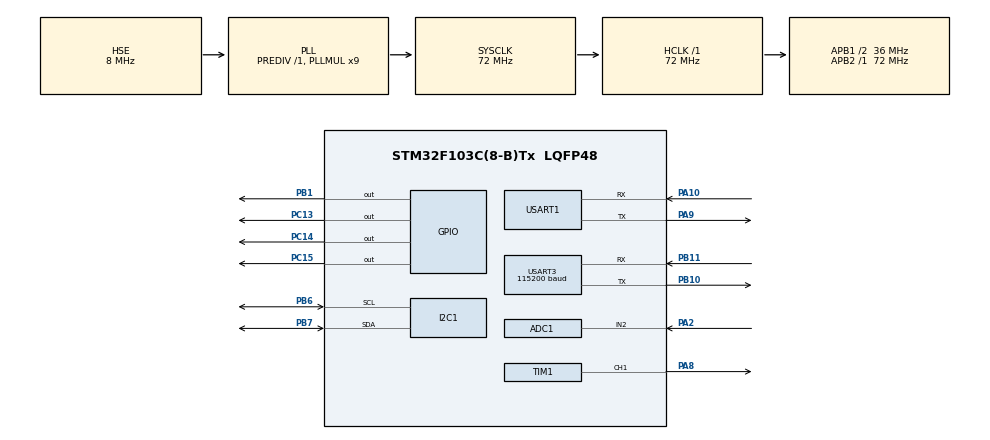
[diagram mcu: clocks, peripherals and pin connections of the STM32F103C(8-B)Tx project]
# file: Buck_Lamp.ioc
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ADC1.Channel-1\#ChannelRegularConversion=ADC_CHANNEL_2
ADC1.ContinuousConvMode=ENABLE
ADC1.NbrOfConversionFlag=1
ADC1.Rank-1\#ChannelRegularConversion=1
ADC1.SamplingTime-1\#ChannelRegularConversion=ADC_SAMPLETIME_1CYCLE_5
ADC1.master=1
Dma.ADC1.0.Direction=DMA_PERIPH_TO_MEMORY
Dma.ADC1.0.Instance=DMA1_Channel1
Dma.ADC1.0.MemDataAlignment=DMA_MDATAALIGN_HALFWORD
Dma.ADC1.0.MemInc=DMA_MINC_ENABLE
Dma.ADC1.0.Mode=DMA_CIRCULAR
Dma.ADC1.0.PeriphDataAlignment=DMA_PDATAALIGN_HALFWORD
Dma.ADC1.0.PeriphInc=DMA_PINC_DISABLE
Dma.ADC1.0.Priority=DMA_PRIORITY_LOW
Dma.Request0=ADC1
Dma.Request1=USART3_RX
Dma.Request2=USART1_RX
Dma.USART1_RX.2.Direction=DMA_PERIPH_TO_MEMORY
Dma.USART1_RX.2.Instance=DMA1_Channel5
Dma.USART1_RX.2.MemDataAlignment=DMA_MDATAALIGN_BYTE
Dma.USART1_RX.2.MemInc=DMA_MINC_ENABLE
Dma.USART1_RX.2.Mode=DMA_CIRCULAR
Dma.USART1_RX.2.PeriphDataAlignment=DMA_PDATAALIGN_BYTE
Dma.USART1_RX.2.PeriphInc=DMA_PINC_DISABLE
Dma.USART1_RX.2.Priority=DMA_PRIORITY_LOW
Dma.USART3_RX.1.Direction=DMA_PERIPH_TO_MEMORY
Dma.USART3_RX.1.Instance=DMA1_Channel3
Dma.USART3_RX.1.MemDataAlignment=DMA_MDATAALIGN_BYTE
Dma.USART3_RX.1.MemInc=DMA_MINC_ENABLE
Dma.USART3_RX.1.Mode=DMA_CIRCULAR
Dma.USART3_RX.1.PeriphDataAlignment=DMA_PDATAALIGN_BYTE
Dma.USART3_RX.1.PeriphInc=DMA_PINC_DISABLE
Dma.USART3_RX.1.Priority=DMA_PRIORITY_LOW
FREERTOS.Tasks01=lighttask,0,128,lighttask_f,Default,NULL,Dynamic,NULL,NULL;oledtask,-3,128,oledtask_f,Default,NULL,Dynamic,NULL,NULL
Mcu.Family=STM32F1
Mcu.Name=STM32F103C(8-B)Tx
Mcu.Package=LQFP48
NVIC.ADC1_2_IRQn=true\:5\:0\:false\:false\:true\:true\:true\:true\:true
NVIC.DMA1_Channel1_IRQn=true\:5\:0\:false\:false\:true\:true\:false\:true\:true
NVIC.DMA1_Channel3_IRQn=true\:5\:0\:false\:false\:true\:true\:false\:true\:true
NVIC.DMA1_Channel5_IRQn=true\:5\:0\:false\:false\:true\:true\:false\:true\:true
NVIC.PriorityGroup=NVIC_PRIORITYGROUP_4
NVIC.TIM4_IRQn=true\:15\:0\:false\:false\:true\:false\:false\:true\:true
NVIC.TimeBase=TIM4_IRQn
NVIC.TimeBaseIP=TIM4
NVIC.USART1_IRQn=true\:5\:0\:false\:false\:true\:true\:true\:true\:true
NVIC.USART3_IRQn=true\:5\:0\:false\:false\:true\:true\:true\:true\:true
PA10.Mode=Asynchronous
PA10.Signal=USART1_RX
PA13.Mode=Serial_Wire
PA13.Signal=SYS_JTMS-SWDIO
PA14.Mode=Serial_Wire
PA14.Signal=SYS_JTCK-SWCLK
PA2.Signal=SharedAnalog_PA2
PA8.Signal=S_TIM1_CH1
PA9.Mode=Asynchronous
PA9.Signal=USART1_TX
PB1.GPIO_ModeDefaultOutputPP=GPIO_MODE_OUTPUT_PP
PB1.GPIO_PuPd=GPIO_PULLUP
PB1.PinState=GPIO_PIN_SET
PB1.Signal=GPIO_Output
PB10.Mode=Asynchronous
PB10.Signal=USART3_TX
PB11.Mode=Asynchronous
PB11.Signal=USART3_RX
PB6.Mode=I2C
PB6.Signal=I2C1_SCL
PB7.Mode=I2C
PB7.Signal=I2C1_SDA
PC13-TAMPER-RTC.Signal=GPIO_Output
PC14-OSC32_IN.Signal=GPIO_Output
PC15-OSC32_OUT.Signal=GPIO_Output
PD0-OSC_IN.Mode=HSE-External-Oscillator
PD0-OSC_IN.Signal=RCC_OSC_IN
PD1-OSC_OUT.Mode=HSE-External-Oscillator
PD1-OSC_OUT.Signal=RCC_OSC_OUT
ProjectManager.HeapSize=0x200
ProjectManager.StackSize=0x400
ProjectManager.TargetToolchain=MDK-ARM V5.32
RCC.ADCPresc=RCC_ADCPCLK2_DIV6
RCC.AHBFreq_Value=72000000
RCC.APB1CLKDivider=RCC_HCLK_DIV2
RCC.APB1Freq_Value=36000000
RCC.APB1TimFreq_Value=72000000
RCC.APB2Freq_Value=72000000
RCC.APB2TimFreq_Value=72000000
RCC.HCLKFreq_Value=72000000
RCC.PLLMUL=RCC_PLL_MUL9
RCC.PLLSourceVirtual=RCC_PLLSOURCE_HSE
RCC.SYSCLKFreq_VALUE=72000000
RCC.SYSCLKSource=RCC_SYSCLKSOURCE_PLLCLK
RCC.USBFreq_Value=72000000
SH.S_TIM1_CH1.0=TIM1_CH1,PWM Generation1 CH1
SH.SharedAnalog_PA2.0=GPIO_Analog
SH.SharedAnalog_PA2.1=ADC1_IN2,IN2
TIM1.Channel-PWM\ Generation1\ CH1=TIM_CHANNEL_1
TIM1.Period=1439
USART1.VirtualMode=VM_ASYNC
USART3.BaudRate=115200
USART3.VirtualMode=VM_ASYNC
VP_FREERTOS_VS_CMSIS_V1.Mode=CMSIS_V1
VP_SYS_VS_tim4.Mode=TIM4
VP_TIM1_VS_ClockSourceINT.Mode=Internal
board=custom

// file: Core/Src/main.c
/* USER CODE BEGIN Header */
/**
  ******************************************************************************
  * @file           : main.c
  * @brief          : Main program body
  ******************************************************************************
  * @attention
  *
  * Copyright (c) 2025 STMicroelectronics.
  * All rights reserved.
  *
  * This software is licensed under terms that can be found in the LICENSE file
  * in the root directory of this software component.
  * If no LICENSE file comes with this software, it is provided AS-IS.
  *
  ******************************************************************************
  */
/* USER CODE END Header */
#include "main.h"
#include "cmsis_os.h"
#include "adc.h"
#include "dma.h"
#include "i2c.h"
#include "tim.h"
#include "usart.h"
#include "gpio.h"

/* USER CODE BEGIN Includes */
#include "stdio.h"
#include "OLED.h"
#include "Face_Config.h"
#include "OLED_Data.h"
#include <math.h>
#include "stdlib.h"
/* USER CODE END Includes */

/* USER CODE BEGIN PTD */
#define R1          50000.0f    // 分压电阻R1（50kΩ）
#define R2          10000.0f    // 分压电阻R2（10kΩ）
#define ADC_REF_VOL 3.3f        // ADC参考电压（3.3V）
#define ADC_RES     4096.0f     // 12位ADC分辨率（2^12）
#define PWM_ARR     1439.0f     // 定时器ARR值（PWM周期）

#define AN1_ON HAL_GPIO_WritePin(GPIOC,GPIO_PIN_13,1);
#define AN1_OFF HAL_GPIO_WritePin(GPIOC,GPIO_PIN_13,0);

#define AN2_ON HAL_GPIO_WritePin(GPIOC,GPIO_PIN_14,1);
#define AN2_OFF HAL_GPIO_WritePin(GPIOC,GPIO_PIN_14,0);

#define PWM_ON HAL_GPIO_WritePin(GPIOC,GPIO_PIN_15,1);
#define PWM_OFF HAL_GPIO_WritePin          (GPIOC,GPIO_PIN_1,0);

/* 语音模块接收相关 (USART1) */
uint8_t g_voice_buffer[11];     // 语音模块发送的是 FF XX XX AF，4字节
uint32_t voice_lock_tick = 0;   // 语音控制锁定计时器
#define VOICE_LOCK_TIME 5000    // 语音指令执行后，锁定5秒不被视觉干扰

/* 记录当前控制源 */
uint8_t control_source = 0;     // 0: 视觉, 1: 语音

extern uint16_t Face_Mode;
/* USER CODE END PTD */

/* USER CODE BEGIN PD */
// ------------------- PI参数配置 -------------------
typedef struct {
    float kp;         // 比例系数
    float ki;         // 积分系数
	float retarget;   // 预目标值（补偿VDDA偏差）
    float target;     // 目标值（输出电压）
    float feedback;   // 反馈值（采用反馈电压）
    float error;      // 误差（target - feedback）
    float integral;   // 积分项
    float output;     // PI输出（PWM占空比对应的CCR值）
    float out_min;    // 输出最小值（避免占空比为0）
    float out_max;    // 输出最大值（避免占空比过大）
} PI_HandleTypeDef;

PI_HandleTypeDef pi_buck;  // BUCK的PI控制器
/* USER CODE END PD */

/* USER CODE BEGIN PM */
// ------------------- ADC采样变量 -------------------
uint16_t adc_buf[10];      // DMA采样缓冲区（10个数据，用于滑动平均滤波）
float v_out;               // BUCK实际输出电压（换算后）

// ------------------- 串口重定向（printf用） -------------------
int fputc(int ch, FILE *f) {
    HAL_UART_Transmit(&huart1, (uint8_t *)&ch, 1, 100);
    return ch;
}
/* USER CODE END PM */

/* USER CODE BEGIN PV */
/* 串口接收相关变量 */
/* DMA 接收相关 */
uint8_t g_rx_buffer[8];  // 接收 3 字节数据包
uint8_t g_tt_code = 0xFF; // 全局存储当前的 tt 指令码

/* 模式目标电压定义 */
#define VOLT_OFF     0.0f
#define VOLT_WEAK    8.0f   // 弱光电压，根据实际亮度调整
#define VOLT_STRONG  15.0f  // 强光电压
/* 视觉模式锁定相关 */
uint8_t active_visual_tt = 0xFF; // 当前正在执行的视觉模式
uint32_t vision_mode_tick = 0;   // 视觉模式开始执行的时间戳
#define MIN_VISION_TIME 2000     // 视觉模式最小执行时间：2秒
/* 投票过滤器相关 */
#define FILTER_SIZE 7
uint8_t tt_history[FILTER_SIZE] = {0xFF, 0xFF, 0xFF, 0xFF, 0xFF, 0xFF, 0xFF}; // 存储最近7次收到的 tt 码
uint8_t history_idx = 0;

/* USER CODE END PV */

void SystemClock_Config(void);
void MX_FREERTOS_Init(void);
/* USER CODE BEGIN PFP */
void PI_Init(PI_HandleTypeDef *pi);
float ADC_Filter(uint16_t *buf, uint8_t len);
void ADC_Convert_Vol(void);
void PI_Calculate(PI_HandleTypeDef *pi);
void Process_Light_Logic(void);
void Process_Voice_Logic(void);

/* USER CODE END PFP */

int main(void)
{

  /* MCU Configuration--------------------------------------------------------*/

  /* Reset of all peripherals, Initializes the Flash interface and the Systick. */
  HAL_Init();

  /* Configure the system clock */
  SystemClock_Config();

  /* Initialize all configured peripherals */
  MX_GPIO_Init();
  MX_DMA_Init();
  MX_ADC1_Init();
  MX_USART1_UART_Init();
  MX_TIM1_Init();
  MX_USART3_UART_Init();
  MX_I2C1_Init();
  /* USER CODE BEGIN 2 */
	PI_Init(&pi_buck);
	HAL_ADC_Start_DMA(&hadc1,(uint32_t *)adc_buf,10);
	HAL_TIM_PWM_Start(&htim1,TIM_CHANNEL_1);
	OLED_Init();
	OLED_ShowImage(0,0,128,64,Face_sleep);
	OLED_Update();
	// 开启 USART1 的 DMA 接收（语音模块）
	HAL_UARTEx_ReceiveToIdle_DMA(&huart1, g_voice_buffer, 12);

	// 开启 USART3 的 DMA 接收（视觉模块）
	HAL_UARTEx_ReceiveToIdle_DMA(&huart3, g_rx_buffer, 9);
	HAL_Delay(1000);	//先睡一秒中再醒来
  /* USER CODE END 2 */

  /* Call init function for freertos objects (in cmsis_os2.c) */
  MX_FREERTOS_Init();

  /* Start scheduler */
  osKernelStart();

  /* We should never get here as control is now taken by the scheduler */

  /* Infinite loop */
  /* USER CODE BEGIN WHILE */
  while (1)
  {
		// （1）模式解析

        // （2）更新PI反馈值，执行PI计算

        // （4）OLED表情刷新
		//  Face_Config();
		//  OLED_Update();

	    // （5）刷新
		 // HAL_Delay(10);	//（每10ms一次，平衡实时性与CPU占用）

    /* USER CODE END WHILE */

  }
}

void SystemClock_Config(void)
{
  RCC_OscInitTypeDef RCC_OscInitStruct = {0};
  RCC_ClkInitTypeDef RCC_ClkInitStruct = {0};
  RCC_PeriphCLKInitTypeDef PeriphClkInit = {0};

  /** Initializes the RCC Oscillators according to the specified parameters
  * in the RCC_OscInitTypeDef structure.
  */
  RCC_OscInitStruct.OscillatorType = RCC_OSCILLATORTYPE_HSE;
  RCC_OscInitStruct.HSEState = RCC_HSE_ON;
  RCC_OscInitStruct.HSEPredivValue = RCC_HSE_PREDIV_DIV1;
  RCC_OscInitStruct.HSIState = RCC_HSI_ON;
  RCC_OscInitStruct.PLL.PLLState = RCC_PLL_ON;
  RCC_OscInitStruct.PLL.PLLSource = RCC_PLLSOURCE_HSE;
  RCC_OscInitStruct.PLL.PLLMUL = RCC_PLL_MUL9;
  if (HAL_RCC_OscConfig(&RCC_OscInitStruct) != HAL_OK)
  {
    Error_Handler();
  }

  /** Initializes the CPU, AHB and APB buses clocks
  */
  RCC_ClkInitStruct.ClockType = RCC_CLOCKTYPE_HCLK|RCC_CLOCKTYPE_SYSCLK
                              |RCC_CLOCKTYPE_PCLK1|RCC_CLOCKTYPE_PCLK2;
  RCC_ClkInitStruct.SYSCLKSource = RCC_SYSCLKSOURCE_PLLCLK;
  RCC_ClkInitStruct.AHBCLKDivider = RCC_SYSCLK_DIV1;
  RCC_ClkInitStruct.APB1CLKDivider = RCC_HCLK_DIV2;
  RCC_ClkInitStruct.APB2CLKDivider = RCC_HCLK_DIV1;

  if (HAL_RCC_ClockConfig(&RCC_ClkInitStruct, FLASH_LATENCY_2) != HAL_OK)
  {
    Error_Handler();
  }
  PeriphClkInit.PeriphClockSelection = RCC_PERIPHCLK_ADC;
  PeriphClkInit.AdcClockSelection = RCC_ADCPCLK2_DIV6;
  if (HAL_RCCEx_PeriphCLKConfig(&PeriphClkInit) != HAL_OK)
  {
    Error_Handler();
  }
}

/* USER CODE BEGIN 4 */
void light_task(){
	ADC_Convert_Vol();
	pi_buck.feedback = v_out;
	PI_Calculate(&pi_buck);

	// （3）更新PWM占空比（CCR1值）
	__HAL_TIM_SET_COMPARE(&htim1, TIM_CHANNEL_1, (uint16_t)pi_buck.output);

}

void oled_task(){
	 Face_Config();
	 OLED_Update();

}

//--------------------------------------------------
void HAL_UARTEx_RxEventCallback(UART_HandleTypeDef *huart,uint16_t Size)
{
    if(huart->Instance == USART1)
    {
		Process_Voice_Logic();

        HAL_UARTEx_ReceiveToIdle_DMA(&huart1, g_voice_buffer, 12);

    }
	if(huart->Instance == USART3)
    {
        Process_Light_Logic();

		HAL_UARTEx_ReceiveToIdle_DMA(&huart3, g_rx_buffer, 9);
    }
}

void PI_Init(PI_HandleTypeDef *pi) {
    pi->kp = 40.0f;        // 比例系数（初始值，需调试）
    pi->ki = 20.0f;        // 积分系数（初始值，需调试）
	pi->retarget = 12.0f;   // 目标输出电压
    pi->target = pi->retarget * 1.00;     // 真实输出电压
    pi->integral = 0.0f;   // 积分项清零
    pi->out_min = 0.0f;   // 最小CCR值（避免占空比过小，无法启动）
    pi->out_max = 1300.0f; // 最大CCR值（避免占空比过大，MOS管过热）
}

// 滑动平均滤波（减少ADC采样噪声）
float ADC_Filter(uint16_t *buf, uint8_t len) {
    uint32_t sum = 0;
    for(uint8_t i=0; i<len; i++) {
        sum += buf[i];
    }
    return (float)sum / len;
}

//  ADC采样值换算为实际输出电压
void ADC_Convert_Vol(void) {
    float adc_avg = ADC_Filter(adc_buf, 10);  // 10点滑动平均
    float v_adc = adc_avg * ADC_REF_VOL / ADC_RES;  // ADC输入电压
    v_out = v_adc * (R1 + R2) / R2;  // 换算为BUCK实际输出电压
}

// PI计算（位置式PI，适合电压闭环）
void PI_Calculate(PI_HandleTypeDef *pi) {
    // 1. 计算误差
    pi->error = pi->retarget - pi->feedback;

    // 2. 积分项（防积分饱和）
    pi->integral += pi->ki * pi->error;
    if(pi->integral > pi->out_max) pi->integral = pi->out_max;
    if(pi->integral < pi->out_min) pi->integral = pi->out_min;

    // 3. PI输出计算
    pi->output = pi->kp * pi->error + pi->integral;

    // 4. 输出限幅（确保在PWM占空比范围内）
    if(pi->output > pi->out_max) pi->output = pi->out_max;
    if(pi->output < pi->out_min) pi->output = pi->out_min;
}

#include <math.h> // 必须包含数学库用于呼吸灯 sin 函数

//// 视觉逻辑判断
void Process_Light_Logic(void) {
    uint32_t now = HAL_GetTick();
	// --- 核心改动：检查语音锁定 ---
    // 如果当前时间距离上次语音指令不到 5 秒，则不执行视觉逻辑
   // if (voice_lock_tick != 0 && (now - voice_lock_tick < VOICE_LOCK_TIME)) return;
		for(int i =0;i<7;i++){
			if (g_rx_buffer[i] == 0x98 && g_rx_buffer[i+2] == 0x34) {
        uint8_t raw_tt = g_rx_buffer[i+1];

				//将收到的tt存入缓冲区
				tt_history[history_idx] = raw_tt;
				history_idx = (history_idx + 1) % FILTER_SIZE;
				 active_visual_tt = raw_tt;
			}

		}

//	// 2. 投票过滤算法
//	uint8_t counts[256] = {0};	//记录次数
//	uint8_t winner_tt = 0xFF;
//	uint8_t max_count = 0;
//
//	for(int i =0; i < FILTER_SIZE; i++){
//		if(tt_history[i] != 0xFF){
//			counts[tt_history[i]]++;
//			if(counts[tt_history[i]] > max_count){
//				max_count = counts[tt_history[i]];
//				winner_tt = tt_history[i];
//			}
//		}
//	}
//
//	// 3. 只有当最高票数 >= 4 时，才认为识别结果可信
//    uint8_t confirmed_tt = active_visual_tt; // 默认维持当前状态
//    if (max_count >= 4) {
//        confirmed_tt = winner_tt;
//    }

//	// 4. 结合之前的“2秒最小执行时间”逻辑
//    if (confirmed_tt != active_visual_tt) {
//        if (now - vision_mode_tick >= MIN_VISION_TIME) {
//            active_visual_tt = confirmed_tt;
//            vision_mode_tick = now;
//        }
//    }
//
	// 5. 执行对应的动作（最少2s）
    switch (active_visual_tt) {
        case 0x00: case 0xFF:// 台灯无光
						Face_Mode= 1;	//萌萌表情
            break;

        case 0x01: case 0x22: case 0x33: case 0x44: //跟随模式
            pi_buck.retarget = 8.0f; // 弱光
						Face_Mode= 5;	//大眼睛
            break;

		case 0x11:	//识别并停止
			pi_buck.retarget = 15.0f; // 强光
			Face_Mode= 4;	//非常快乐
			break;

        case 0x55: // 生气
            pi_buck.retarget = 15.0f; // 强光
			Face_Mode= 3;	//生气
            break;

        case 0x77: //高兴	// 周期 1s 闪烁
            if ((now / 500) % 2 == 0) pi_buck.retarget = 12.0f;
            else pi_buck.retarget = 0.0f;
			Face_Mode= 2;	//高兴
            break;

		case 0x88:	//悲伤
			pi_buck.retarget = 8.0f; // 弱光
			Face_Mode= 6;	//内向
			break;

        case 0x66: //自然状态	// 呼吸灯
            {
                // 使用 sin 函数产生 0.0 到 1.0 之间的变化
                float breathing = (sinf(now * 0.002f) + 1.0f) / 2.0f;
                pi_buck.retarget = breathing * 6.0f + 6.0f; // 在 6-12V 之间呼吸
						Face_Mode= 1;	//萌萌表情
            }
            break;

        default:
            // 未识别到有效指令时，可保持当前状态或关灯
						//pi_buck.retarget = 0.0f ;
							Face_Mode= 1;	//萌萌表情
            break;
    }

    // 更新 PI 控制器的目标值
    pi_buck.target = pi_buck.retarget;
		memset(&g_rx_buffer,0,sizeof(g_rx_buffer));
}

//语音控制逻辑
void Process_Voice_Logic(void) {
    // 检查帧头 0xFF 和 帧尾 0xAF
	for(int i=0;i<7;i++){
		if (g_voice_buffer[i] == 0xFF && g_voice_buffer[i+3] == 0xAF) {

        // 识别到有效语音指令
        uint8_t cmd = g_voice_buffer[i+1];

		// 语音控制一旦触发，立即重置视觉状态，防止冲突
        active_visual_tt = 0xFE; // 设置一个无关码，打破视觉锁定
       // voice_lock_tick = HAL_GetTick();

        switch (cmd) {
            case 0x11: // 一档亮度
                pi_buck.retarget = 8.0f;
                Face_Mode = 2;
						AN1_ON;
						AN2_OFF;
						PWM_ON;
               // voice_lock_tick = HAL_GetTick(); // 触发锁定
                break;
            case 0x22: //  关闭灯光
                pi_buck.retarget = 0.0f;
                Face_Mode = 4;
						AN1_OFF;
						AN2_OFF;
						PWM_OFF;
              //  voice_lock_tick = HAL_GetTick();
                break;
            case 0x33: // 二档亮度
                pi_buck.retarget = 12.0f;
                Face_Mode = 3;
             //   voice_lock_tick = HAL_GetTick();
                break;
            case 0x44: // 三档亮度
                pi_buck.retarget = 15.0f;
                Face_Mode = 1;
            //    voice_lock_tick = HAL_GetTick();
                break;
						case 0x77: // 一档亮度

						AN1_ON;
						AN2_OFF;
						PWM_ON;
               // voice_lock_tick = HAL_GetTick(); // 触发锁定
                break;
            case 0x88: //  关闭灯光
						AN1_OFF;
						AN2_OFF;
						PWM_OFF;
						default:break;
        }

        // 清空缓冲区关键字节，防止重复触发
//        g_voice_buffer[0] = 0x00;

    }
		memset(&g_voice_buffer,0,sizeof(g_voice_buffer));
	}

}

/* USER CODE END 4 */

void HAL_TIM_PeriodElapsedCallback(TIM_HandleTypeDef *htim)
{
  if (htim->Instance == TIM4)
  {
    HAL_IncTick();
  }
}

void Error_Handler(void)
{
  __disable_irq();
  while (1)
  {
  }
}

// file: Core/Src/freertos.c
/* USER CODE BEGIN Header */
/**
  ******************************************************************************
  * File Name          : freertos.c
  * Description        : Code for freertos applications
  ******************************************************************************
  * @attention
  *
  * Copyright (c) 2026 STMicroelectronics.
  * All rights reserved.
  *
  * This software is licensed under terms that can be found in the LICENSE file
  * in the root directory of this software component.
  * If no LICENSE file comes with this software, it is provided AS-IS.
  *
  ******************************************************************************
  */
/* USER CODE END Header */

#include "FreeRTOS.h"
#include "task.h"
#include "main.h"
#include "cmsis_os.h"

osThreadId lighttaskHandle;
osThreadId oledtaskHandle;

void lighttask_f(void const * argument);
void oledtask_f(void const * argument);

void MX_FREERTOS_Init(void); /* (MISRA C 2004 rule 8.1) */

/* GetIdleTaskMemory prototype (linked to static allocation support) */
void vApplicationGetIdleTaskMemory( StaticTask_t **ppxIdleTaskTCBBuffer, StackType_t **ppxIdleTaskStackBuffer, uint32_t *pulIdleTaskStackSize );

/* USER CODE BEGIN GET_IDLE_TASK_MEMORY */
static StaticTask_t xIdleTaskTCBBuffer;
static StackType_t xIdleStack[configMINIMAL_STACK_SIZE];

void vApplicationGetIdleTaskMemory( StaticTask_t **ppxIdleTaskTCBBuffer, StackType_t **ppxIdleTaskStackBuffer, uint32_t *pulIdleTaskStackSize )
{
  *ppxIdleTaskTCBBuffer = &xIdleTaskTCBBuffer;
  *ppxIdleTaskStackBuffer = &xIdleStack[0];
  *pulIdleTaskStackSize = configMINIMAL_STACK_SIZE;
  /* place for user code */
}
/* USER CODE END GET_IDLE_TASK_MEMORY */

void MX_FREERTOS_Init(void) {

  /* Create the thread(s) */
  /* definition and creation of lighttask */
  osThreadDef(lighttask, lighttask_f, osPriorityNormal, 0, 128);
  lighttaskHandle = osThreadCreate(osThread(lighttask), NULL);

  /* definition and creation of oledtask */
  osThreadDef(oledtask, oledtask_f, osPriorityIdle, 0, 128);
  oledtaskHandle = osThreadCreate(osThread(oledtask), NULL);

}

void lighttask_f(void const * argument)
{
  /* USER CODE BEGIN lighttask_f */
  /* Infinite loop */
  for(;;)
  {
		light_task();
    osDelay(1);
  }
  /* USER CODE END lighttask_f */
}

void oledtask_f(void const * argument)
{
  /* USER CODE BEGIN oledtask_f */
  /* Infinite loop */
  for(;;)
  {
		oled_task();
    osDelay(1);
  }
  /* USER CODE END oledtask_f */
}
